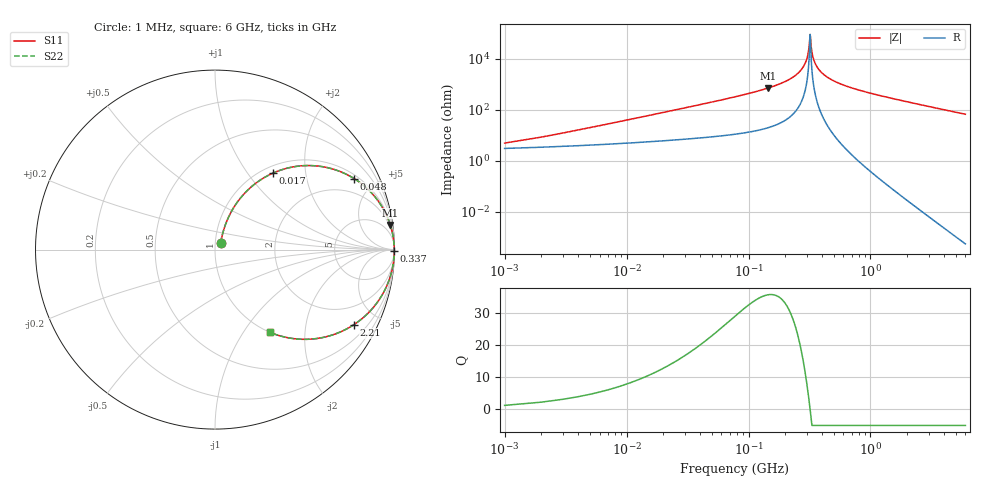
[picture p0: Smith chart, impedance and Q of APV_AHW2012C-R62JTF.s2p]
! APV AHW2012C-R62JTF 620 nH 0805 wire-wound (L5)
! Lumped model fitted to APV datasheet: Q=23@50MHz, SRF=320MHz, DCR=2.20 ohm
! Model: (L + DCR + k*sqrt(f)) || Cp ; L=6.2e-07 H, Cp=3.99e-13 F, k=0.000857
! Generated by make_s2p.py - an estimate, not a measurement
! Series-thru 2-port: part connected between port 1 and port 2.
# Hz S RI R 50
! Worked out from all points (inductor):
!   1500 points, 1 MHz to 6 GHz, reference 50 ohm
!   read as one part in series: L = 620 nH near 8 MHz
!   highest Q = 35.8 at 145 MHz (marker M1), where L = 780 nH
!   self-resonance near 319 MHz
!   S11 on the Smith chart (normalised r, x): 1 MHz: 1.06, +0.08; 17 MHz: 1.12, +1.33; 48 MHz: 1.17, +3.83; 337 MHz: open; 2.21 GHz: 1.00, -3.69; 6 GHz: 1.00, -1.33
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1000000  0.0311 0.0366  0.9689 -0.0366  0.9689 -0.0366  0.0311 0.0366
5000000  0.072 0.1736  0.928 -0.1736  0.928 -0.1736  0.072 0.1736
1.7e7  0.3219 0.4258  0.6781 -0.4258  0.6781 -0.4258  0.3219 0.4258
1.9e7  0.3672 0.4435  0.6328 -0.4435  0.6328 -0.4435  0.3672 0.4435
4.8e7  0.7756 0.3955  0.2244 -0.3955  0.2244 -0.3955  0.7756 0.3955
7.8e7  0.9048 0.2769  0.0952 -0.2769  0.0952 -0.2769  0.9048 0.2769
1.45e8  0.9769 0.1368  0.0231 -0.1368  0.0231 -0.1368  0.9769 0.1368
2.1e8  0.993 0.0689  0.00696 -0.0689  0.00696 -0.0689  0.993 0.0689
2.64e8  0.9975 0.0309  0.00248 -0.0309  0.00248 -0.0309  0.9975 0.0309
2.98e8  0.9986 0.0114  0.00139 -0.0114  0.00139 -0.0114  0.9986 0.0114
3.06e8  0.9987 0.00714  0.00126 -0.00714  0.00126 -0.00714  0.9987 0.00714
3.19e8  0.9989 0.000485  0.00113 -0.000485  0.00113 -0.000485  0.9989 0.000485
3.24e8  0.9989 -0.002  0.00111 0.002  0.00111 0.002  0.9989 -0.002
3.31e8  0.9989 -0.00543  0.0011 0.00543  0.0011 0.00543  0.9989 -0.00543
3.37e8  0.9989 -0.0083  0.00111 0.0083  0.00111 0.0083  0.9989 -0.0083
3.53e8  0.9988 -0.0158  0.00122 0.0158  0.00122 0.0158  0.9988 -0.0158
3.8e8  0.9984 -0.0276  0.00163 0.0276  0.00163 0.0276  0.9984 -0.0276
4.82e8  0.9949 -0.0672  0.00513 0.0672  0.00513 0.0672  0.9949 -0.0672
7.3e8  0.9783 -0.1446  0.0217 0.1446  0.0217 0.1446  0.9783 -0.1446
1.41e9  0.8989 -0.3013  0.1011 0.3013  0.1011 0.3013  0.8989 -0.3013
2.21e9  0.7727 -0.4191  0.2273 0.4191  0.2273 0.4191  0.7727 -0.4191
6e9  0.3077 -0.4616  0.6923 0.4616  0.6923 0.4616  0.3077 -0.4616
